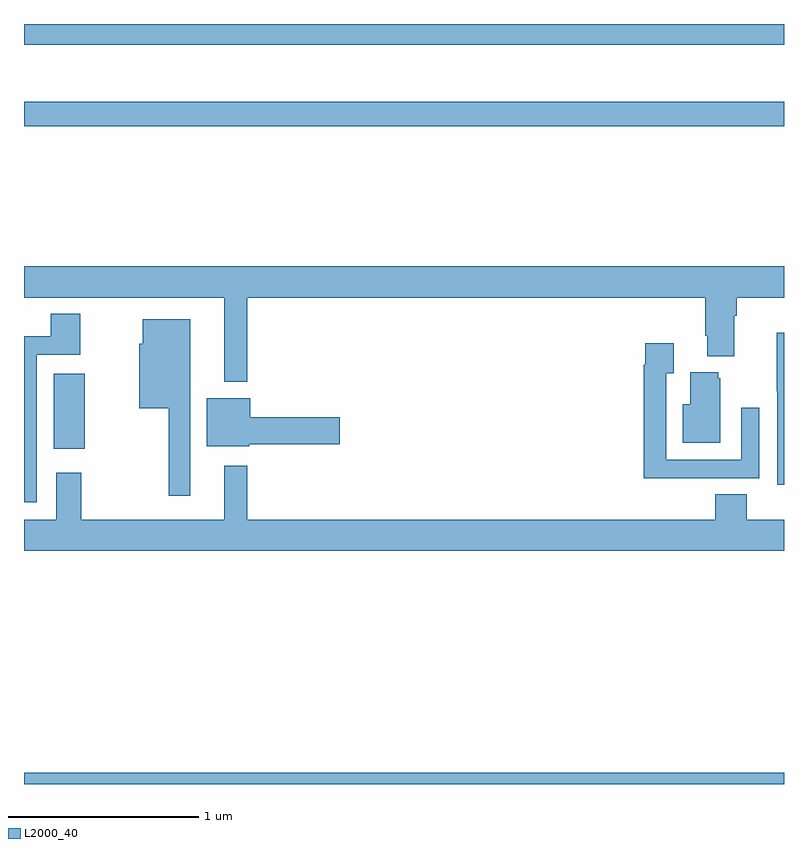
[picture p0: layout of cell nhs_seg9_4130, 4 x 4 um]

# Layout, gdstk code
import gdstk
lib = gdstk.Library(unit=1e-6, precision=1e-09)
def R(c, l, rs):  # rectangles x0, y0, x1, y1
    for r in rs: c.add(gdstk.rectangle(r[:2], r[2:], *l))
def P(c, l, *ps):  # polygons
    for p in ps: c.add(gdstk.Polygon(p, *l))
L2000_40 = (2000, 40)

nhs_seg9_4130 = lib.new_cell('nhs_seg9_4130')
R(nhs_seg9_4130, L2000_40, [(347,1220.5,351,1220.56), (347.156,1222.265,347.32,1222.66), (347,1223.962,351,1224.091), (347,1224.392,351,1224.5)])
P(nhs_seg9_4130, L2000_40, [(347,1223.06),(348.053,1223.06),(348.053,1222.616),(348.175,1222.616),(348.175,1223.06),(350.585,1223.06),(350.585,1222.858),(350.597,1222.858),(350.597,1222.751),(350.737,1222.751),(350.737,1222.964),(350.75,1222.964),(350.75,1223.06),(351,1223.06),(351,1223.224),(347,1223.224)],
  [(347.067,1222.758),(347.295,1222.758),(347.295,1222.975),(347.14,1222.975),(347.14,1222.856),(347,1222.856),(347,1221.983),(347.067,1221.983)],
  [(347.875,1222.945),(347.624,1222.945),(347.624,1222.818),(347.606,1222.818),(347.606,1222.478),(347.761,1222.478),(347.761,1222.017),(347.875,1222.017)],
  [(351,1222.874),(350.962,1222.874),(350.962,1222.567),(350.964,1222.567),(350.964,1222.074),(351,1222.074)],
  [(350.555,1222.11),(350.871,1222.11),(350.871,1222.48),(350.775,1222.48),(350.775,1222.206),(350.379,1222.206),(350.379,1222.663),(350.419,1222.663),(350.419,1222.819),(350.271,1222.819),(350.271,1222.706),(350.263,1222.706),(350.263,1222.109),(350.555,1222.109)],
  [(350.665,1222.635),(350.654,1222.635),(350.654,1222.666),(350.507,1222.666),(350.507,1222.498),(350.468,1222.498),(350.468,1222.295),(350.665,1222.295)],
  [(348.186,1222.288),(348.661,1222.288),(348.661,1222.43),(348.19,1222.43),(348.19,1222.531),(347.963,1222.531),(347.963,1222.277),(348.186,1222.277)],
  [(351,1221.892),(350.804,1221.892),(350.804,1222.025),(350.639,1222.025),(350.639,1221.892),(348.175,1221.892),(348.175,1222.174),(348.053,1222.174),(348.053,1221.892),(347.301,1221.892),(347.301,1222.138),(347.171,1222.138),(347.171,1221.892),(347,1221.892),(347,1221.728),(351,1221.728)])

lib.write_gds('nhs_seg9_4130.gds')
